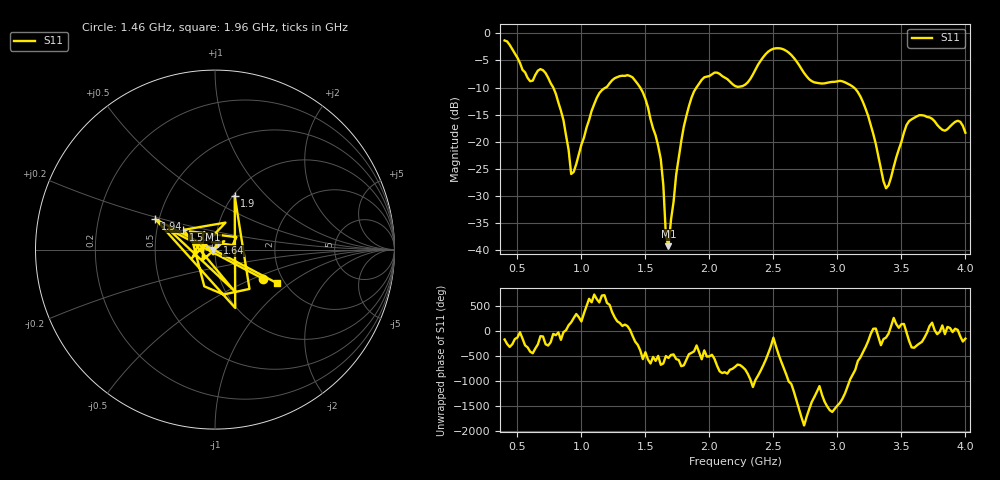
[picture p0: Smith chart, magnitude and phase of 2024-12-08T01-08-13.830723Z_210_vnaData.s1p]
!Created with skrf (http://scikit-rf.org).
# Hz S RI R 50.0
!freq ReS11 ImS11
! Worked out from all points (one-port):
!   181 points, 400 MHz to 4 GHz, reference 50 ohm
!   lowest |S11| = -39.2 dB at 1.68 GHz (marker M1), VSWR 1.02, Z = 48.9 + j0.0148 ohm
!   |S11| at or under -10 dB: 780.3 MHz to 1.189 GHz (409.2 MHz wide, 41.5 % of centre); 1.459 GHz to 1.899 GHz (439.4 MHz wide, 26.2 % of centre); 3.129 GHz to end of sweep
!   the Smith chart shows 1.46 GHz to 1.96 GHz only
!   S11 on the Smith chart (normalised r, x): 1.46 GHz: 1.61, -0.58; 1.52 GHz: 0.69, +0.16; 1.64 GHz: 1.03, +0.08; 1.9 GHz: 1.02, +0.68; 1.94 GHz: 0.48, +0.19; 1.96 GHz: 1.83, -0.81
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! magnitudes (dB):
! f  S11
! 400 MHz  -1.3
! 600 MHz  -8.8
! 720 MHz  -7.3
! 860 MHz  -16.0
! 920 MHz  -25.9
! 1.12 GHz  -11.9
! 1.3 GHz  -7.9
! 1.46 GHz  -10.0
! 1.52 GHz  -13.6
! 1.62 GHz  -23.2
! 1.64 GHz  -28.0
! 1.66 GHz  -37.2
! 1.68 GHz  -39.2
! 1.76 GHz  -22.9
! 1.82 GHz  -15.2
! 1.9 GHz  -9.9
! 1.94 GHz  -8.6
! 1.96 GHz  -8.1
! 2.2 GHz  -9.7
! 2.48 GHz  -3.1
! 2.66 GHz  -4.5
! 2.8 GHz  -8.8
! 3.1 GHz  -9.5
! 3.24 GHz  -15.2
! 3.38 GHz  -28.5
! 3.56 GHz  -16.2
! 3.94 GHz  -16.1
! 4 GHz  -18.3
